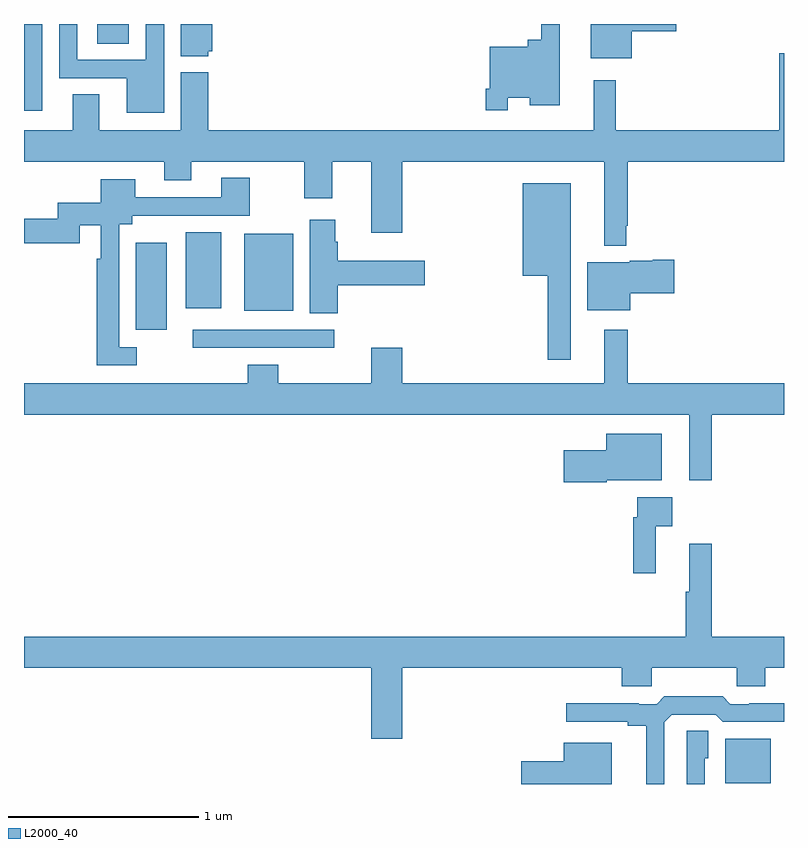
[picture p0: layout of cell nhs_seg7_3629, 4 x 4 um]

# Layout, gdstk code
import gdstk
lib = gdstk.Library(unit=1e-6, precision=1e-09)
def R(c, l, rs):  # rectangles x0, y0, x1, y1
    for r in rs: c.add(gdstk.rectangle(r[:2], r[2:], *l))
def P(c, l, *ps):  # polygons
    for p in ps: c.add(gdstk.Polygon(p, *l))
L2000_40 = (2000, 40)

nhs_seg7_3629 = lib.new_cell('nhs_seg7_3629')
R(nhs_seg7_3629, L2000_40, [(346.691,1004.003,346.93,1004.239), (343.887,1006.296,344.632,1006.392), (343.589,1006.391,343.75,1006.849), (344.159,1006.49,344.416,1006.897), (343.85,1006.505,344.038,1006.903), (343,1007.544,343.096,1008), (343.385,1007.896,343.552,1008)])
P(nhs_seg7_3629, L2000_40, [(343.971,1007.856),(343.99,1007.856),(343.99,1008),(343.826,1008),(343.826,1007.831),(343.971,1007.831)],
  [(345.546,1007.612),(345.662,1007.612),(345.662,1007.573),(345.82,1007.573),(345.82,1008),(345.723,1008),(345.723,1007.917),(345.65,1007.917),(345.65,1007.881),(345.45,1007.881),(345.45,1007.659),(345.43,1007.659),(345.43,1007.547),(345.546,1007.547)],
  [(343.737,1008),(343.641,1008),(343.641,1007.811),(343.281,1007.811),(343.281,1008),(343.185,1008),(343.185,1007.715),(343.541,1007.715),(343.541,1007.534),(343.737,1007.534)],
  [(346.198,1007.963),(346.432,1007.963),(346.432,1008),(345.983,1008),(345.983,1007.819),(346.198,1007.819)],
  [(346.169,1006.939),(346.177,1006.939),(346.177,1007.276),(347,1007.276),(347,1007.845),(346.975,1007.845),(346.975,1007.44),(346.115,1007.44),(346.115,1007.704),(345.998,1007.704),(345.998,1007.44),(343.97,1007.44),(343.97,1007.746),(343.826,1007.746),(343.826,1007.44),(343.396,1007.44),(343.396,1007.63),(343.256,1007.63),(343.256,1007.44),(343,1007.44),(343,1007.276),(343.739,1007.276),(343.739,1007.177),(343.879,1007.177),(343.879,1007.276),(344.476,1007.276),(344.476,1007.082),(344.623,1007.082),(344.623,1007.276),(344.828,1007.276),(344.828,1006.902),(344.992,1006.902),(344.992,1007.276),(346.055,1007.276),(346.055,1006.832),(346.169,1006.832)],
  [(343.594,1006.3),(343.5,1006.3),(343.5,1006.946),(343.57,1006.946),(343.57,1006.992),(344.187,1006.992),(344.187,1007.191),(344.039,1007.191),(344.039,1007.088),(343.585,1007.088),(343.585,1007.182),(343.403,1007.182),(343.403,1007.06),(343.177,1007.06),(343.177,1006.975),(343,1006.975),(343,1006.846),(343.293,1006.846),(343.293,1006.942),(343.404,1006.942),(343.404,1006.765),(343.384,1006.765),(343.384,1006.203),(343.594,1006.203)],
  [(345.877,1007.161),(345.626,1007.161),(345.626,1006.676),(345.756,1006.676),(345.756,1006.233),(345.877,1006.233)],
  [(344.651,1006.624),(345.109,1006.624),(345.109,1006.753),(344.651,1006.753),(344.651,1006.853),(344.638,1006.853),(344.638,1006.969),(344.504,1006.969),(344.504,1006.477),(344.651,1006.477)],
  [(346.192,1006.582),(346.423,1006.582),(346.423,1006.76),(346.31,1006.76),(346.31,1006.753),(346.188,1006.753),(346.188,1006.747),(345.965,1006.747),(345.965,1006.493),(346.192,1006.493)],
  [(346.177,1006.39),(346.055,1006.39),(346.055,1006.108),(344.992,1006.108),(344.992,1006.297),(344.828,1006.297),(344.828,1006.108),(344.337,1006.108),(344.337,1006.207),(344.177,1006.207),(344.177,1006.108),(343,1006.108),(343,1005.944),(346.502,1005.944),(346.502,1005.6),(346.619,1005.6),(346.619,1005.944),(347,1005.944),(347,1006.108),(346.177,1006.108)],
  [(346.068,1005.599),(346.357,1005.599),(346.357,1005.844),(346.064,1005.844),(346.064,1005.757),(345.84,1005.757),(345.84,1005.587),(346.068,1005.587)],
  [(346.325,1005.356),(346.411,1005.356),(346.411,1005.508),(346.227,1005.508),(346.227,1005.404),(346.207,1005.404),(346.207,1005.108),(346.325,1005.108)],
  [(344.992,1004.612),(346.145,1004.612),(346.145,1004.514),(346.305,1004.514),(346.305,1004.612),(346.75,1004.612),(346.75,1004.514),(346.9,1004.514),(346.9,1004.612),(347,1004.612),(347,1004.776),(346.619,1004.776),(346.619,1005.265),(346.502,1005.265),(346.502,1005.012),(346.483,1005.012),(346.483,1004.776),(343,1004.776),(343,1004.612),(344.828,1004.612),(344.828,1004.238),(344.992,1004.238)],
  [(346.371,1004.325),(346.41,1004.364),(346.641,1004.364),(346.677,1004.328),(347,1004.328),(347,1004.426),(346.816,1004.426),(346.816,1004.421),(346.716,1004.421),(346.677,1004.461),(346.369,1004.461),(346.329,1004.421),(346.235,1004.421),(346.235,1004.426),(345.855,1004.426),(345.855,1004.328),(346.178,1004.328),(346.178,1004.306),(346.274,1004.306),(346.274,1004),(346.371,1004)],
  [(346.584,1004.136),(346.6,1004.136),(346.6,1004.279),(346.488,1004.279),(346.488,1004),(346.584,1004)],
  [(346.093,1004.218),(345.842,1004.218),(345.842,1004.12),(345.618,1004.12),(345.618,1004),(346.093,1004)])

lib.write_gds('nhs_seg7_3629.gds')
